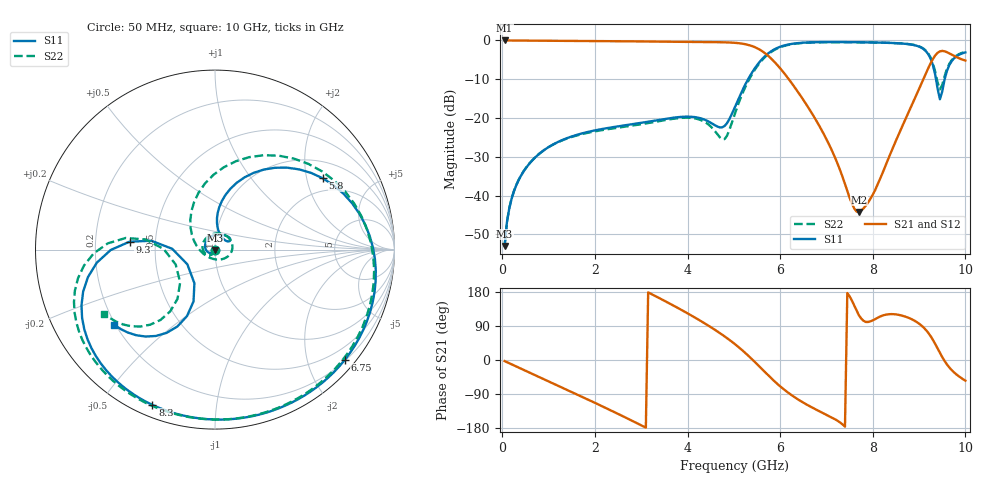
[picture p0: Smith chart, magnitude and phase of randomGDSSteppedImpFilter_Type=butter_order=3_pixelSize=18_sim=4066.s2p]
! freq	dB(S11)	phase(S11)	dB(S12)	phase(S12)
!  dB(S21)	phase(S21)	dB(S22)	phase(S22)
!S-par simulation data
#  GHz  S  DB  R 50
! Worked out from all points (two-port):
!   200 points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, 50 MHz to 10 GHz, reference 50 ohm
!   highest |S21| = -0.01 dB at 50 MHz (marker M1); lowest = -44.2 dB at 7.7 GHz (marker M2)
!   |S21| within 3 dB of the highest: start of sweep to 5.639 GHz; 9.424 GHz to 9.598 GHz (174.1 MHz wide, 1.83 % of centre)
!   lowest |S11| = -53.0 dB at 50 MHz (marker M3), VSWR 1.00, Z = 50 - j0.219 ohm
!   |S11| at or under -10 dB: start of sweep to 5.309 GHz; 9.365 GHz to 9.552 GHz (187.1 MHz wide, 1.98 % of centre)
!   |S22| runs from -53.0 to -0.5 dB; largest |S21 - S12| = 0
!   S11 on the Smith chart (normalised r, x): 50 MHz: 1.00, -0.00; 5.8 GHz: 1.52, +2.51; 6.75 GHz: 0.22, -2.71; 8.3 GHz: 0.05, -0.67; 9.3 GHz: 0.35, +0.04; 10 GHz: 0.19, -0.32
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0.05  -53.03 -79.3  -0.01 -2.9  -0.01 -2.9  -53.05 -77.9
0.2  -40.87 -100.7  -0.02 -11.3  -0.02 -11.3  -40.80 -94.8
0.5  -33.08 -124.6  -0.04 -28.1  -0.04 -28.1  -33.02 -110.1
1.75  -23.88 145.8  -0.14 -98.6  -0.14 -98.6  -24.07 -166.7
2.65  -21.88 91.0  -0.22 -151.1  -0.22 -151.1  -22.23 142.4
3.4  -20.46 58.5  -0.30 162.7  -0.30 162.7  -20.78 83.1
4.35  -20.34 30.4  -0.41 98.3  -0.41 98.3  -20.88 -11.6
4.8  -22.06 61.2  -0.49 62.4  -0.49 62.4  -25.43 -120.0
5.05  -16.43 85.8  -0.64 39.2  -0.64 39.2  -17.91 157.1
5.4  -8.15 72.0  -1.48 1.1  -1.48 1.1  -8.57 98.5
5.8  -2.85 33.4  -4.60 -47.3  -4.60 -47.3  -3.02 42.5
6.2  -0.99 -3.3  -10.21 -88.7  -10.21 -88.7  -1.09 -2.4
6.7  -0.47 -37.4  -19.07 -126.0  -19.07 -126.0  -0.53 -42.0
6.75  -0.46 -40.3  -20.06 -129.2  -20.06 -129.2  -0.51 -45.2
7.7  -0.46 -85.9  -44.25 118.1  -44.25 118.1  -0.49 -94.6
8.3  -0.60 -112.0  -31.52 120.0  -31.52 120.0  -0.61 -120.9
8.35  -0.62 -114.3  -30.09 120.8  -30.09 120.8  -0.63 -123.2
9  -1.59 -152.8  -12.49 95.9  -12.49 95.9  -1.53 -159.5
9.3  -6.41 174.7  -4.75 52.9  -4.75 52.9  -6.00 172.6
9.45  -15.17 -152.1  -2.81 18.8  -2.81 18.8  -12.61 -159.1
9.7  -5.41 -120.2  -3.63 -26.1  -3.63 -26.1  -5.15 -130.8
10  -3.09 -143.5  -5.19 -54.5  -5.19 -54.5  -2.94 -150.0
